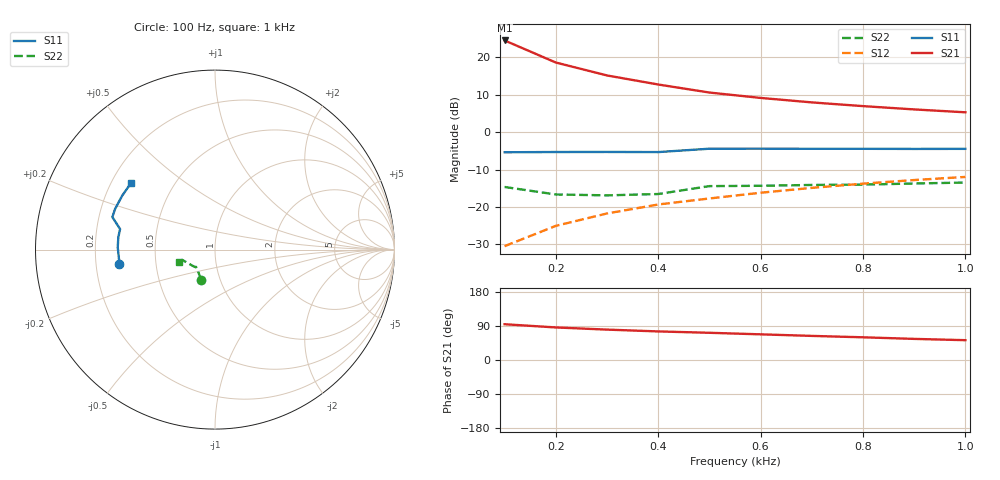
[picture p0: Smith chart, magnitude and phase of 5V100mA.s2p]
#  HZ  S  MA  R  50.0000
! Device:2SC5551A
! Bias:VCE=5V, IC=100mA
!MHZ	S11(MAG/ANG)		S21(MAG/ANG)		S12(MAG/ANG)		S22(MAG/ANG)
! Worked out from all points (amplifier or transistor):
!   10 points, 100 Hz to 1 kHz, reference 50 ohm
!   highest |S21| = 24.5 dB at 100 Hz (marker M1)
!   |S21| within 3 dB of that: start of sweep to 150.9 Hz
!   unconditionally stable (mu >= 1): 205.6 Hz to 760.6 Hz
!   at 200 Hz: K = 1.00, MSG = 21.8 dB, |S12| = -25.0 dB
!   at 600 Hz: K = 1.01, MAG = 12.1 dB, |S12| = -16.2 dB
!   at 1 kHz: K = 0.99, MSG = 8.6 dB, |S12| = -12.0 dB
100  0.538 -171.5  16.72 94.4  0.03 72.8  0.185 -114.7
200  0.542 178.7  8.487 85.9  0.056 76.3  0.147 -132.3
300  0.543 172.7  5.703 80.2  0.082 75.9  0.143 -137.8
400  0.541 167.8  4.318 75.4  0.108 74.6  0.149 -139.6
500  0.6 162.4  3.373 71.8  0.13 73.8  0.19 -162.1
600  0.601 158.0  2.859 67.7  0.155 72.0  0.192 -162.6
700  0.598 153.7  2.491 63.6  0.18 69.9  0.197 -162.3
800  0.598 149.7  2.222 59.9  0.205 67.8  0.199 -162.1
900  0.596 145.4  2.007 55.7  0.229 65.5  0.206 -161.3
1000  0.597 141.8  1.837 52.3  0.252 63.5  0.212 -161.6
